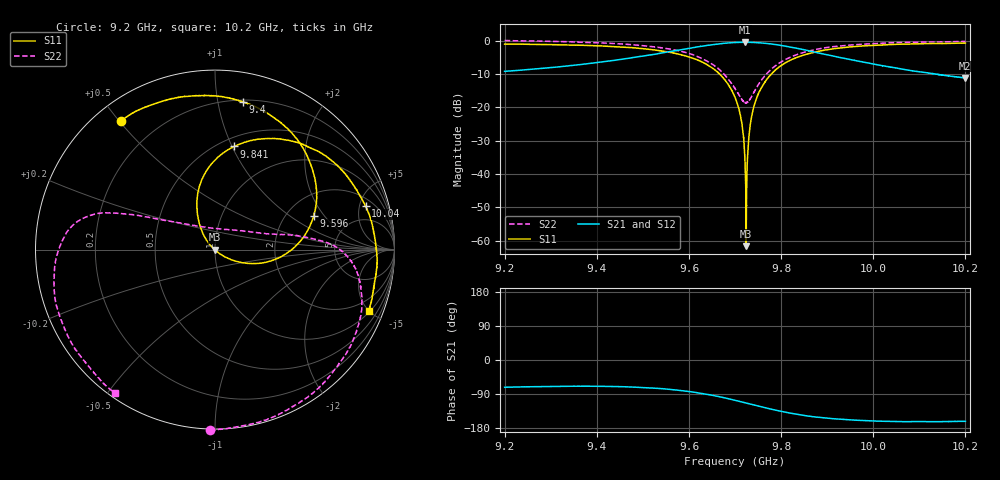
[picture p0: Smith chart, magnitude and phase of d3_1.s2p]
!Agilent Technologies,N5242A,MY51221714,A.09.90.19
!Agilent N5242A: A.09.90.19
!Date: Friday, February 02, 2024 13:11:54
!Correction: S11(Full 2 Port(1,2))
!S21(Full 2 Port(1,2))
!S12(Full 2 Port(1,2))
!S22(Full 2 Port(1,2))
!S2P File: Measurements: S11, S21, S12, S22:
# Hz S  dB  R 50
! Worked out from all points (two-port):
!   16001 points, 9.2 GHz to 10.2 GHz, reference 50 ohm
!   highest |S21| = -0.47 dB at 9.722 GHz (marker M1); lowest = -11.2 dB at 10.2 GHz (marker M2)
!   |S21| within 3 dB of the highest: 9.55 GHz to 9.874 GHz (324 MHz wide, 3.34 % of centre); 9.87402 GHz to 9.874106 GHz (85.93 kHz wide, 0.00087 % of centre)
!   lowest |S11| = -61.7 dB at 9.724 GHz (marker M3), VSWR 1.00, Z = 49.9 + j0.0187 ohm
!   |S11| at or under -10 dB: 9.667 GHz to 9.779 GHz (112.5 MHz wide, 1.16 % of centre)
!   |S22| runs from -18.7 to 0.1 dB; largest |S21 - S12| = 0.024
!   S11 on the Smith chart (normalised r, x): 9.2 GHz: 0.07, +0.50; 9.4 GHz: 0.21, +1.18; 9.596 GHz: 2.80, +1.57; 9.841 GHz: 0.58, +1.02; 10.04 GHz: 2.81, +5.75; 10.2 GHz: 1.12, -4.98
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9.2e9  -1.03 126.3  -9.20 -72.0  -9.19 -73.2  0.05 -91.6
9.366688e9  -1.38 87.8  -7.12 -69.2  -7.10 -70.4  -0.48 -46.3
9.400125e9  -1.54 79.4  -6.57 -69.3  -6.55 -70.6  -0.62 -37.7
9.533375e9  -2.95 41.4  -3.88 -75.0  -3.86 -76.1  -2.00 -8.3
9.596188e9  -4.73 18.7  -2.40 -82.5  -2.37 -83.7  -3.66 2.4
9.659625e9  -9.13 -8.2  -1.05 -95.3  -1.04 -96.4  -7.92 12.0
9.7e9  -17.01 -28.1  -0.56 -106.4  -0.52 -107.6  -14.35 32.6
9.71425e9  -24.39 -36.3  -0.50 -110.5  -0.46 -111.8  -17.55 56.6
9.722188e9  -37.28 -47.2  -0.47 -113.0  -0.45 -114.2  -18.59 79.3
9.724375e9  -61.68 166.9  -0.48 -113.6  -0.45 -114.9  -18.58 86.2
9.7275e9  -34.26 141.6  -0.50 -114.6  -0.46 -115.9  -18.38 96.4
9.731312e9  -27.23 135.8  -0.49 -115.8  -0.47 -117.1  -17.80 107.7
9.735875e9  -22.89 132.2  -0.52 -117.2  -0.48 -118.6  -16.80 118.5
9.753188e9  -15.17 120.5  -0.65 -122.4  -0.62 -123.7  -12.67 141.3
9.789438e9  -8.62 103.0  -1.21 -132.7  -1.19 -134.0  -7.37 154.8
9.841375e9  -4.67 79.6  -2.48 -144.5  -2.47 -145.8  -3.85 161.4
9.866688e9  -3.65 69.2  -3.24 -149.2  -3.22 -150.4  -2.91 164.4
9.941188e9  -1.99 43.2  -5.40 -157.2  -5.40 -158.5  -1.42 176.4
1.003338e10  -1.19 16.8  -7.81 -161.9  -7.81 -163.2  -0.66 -165.0
1.003606e10  -1.17 16.1  -7.87 -162.1  -7.87 -163.3  -0.64 -164.4
1.019931e10  -0.72 -21.5  -11.20 -161.7  -11.17 -163.2  -0.23 -125.2
1.02e10  -0.72 -21.7  -11.20 -161.7  -11.18 -163.0  -0.23 -125.0
